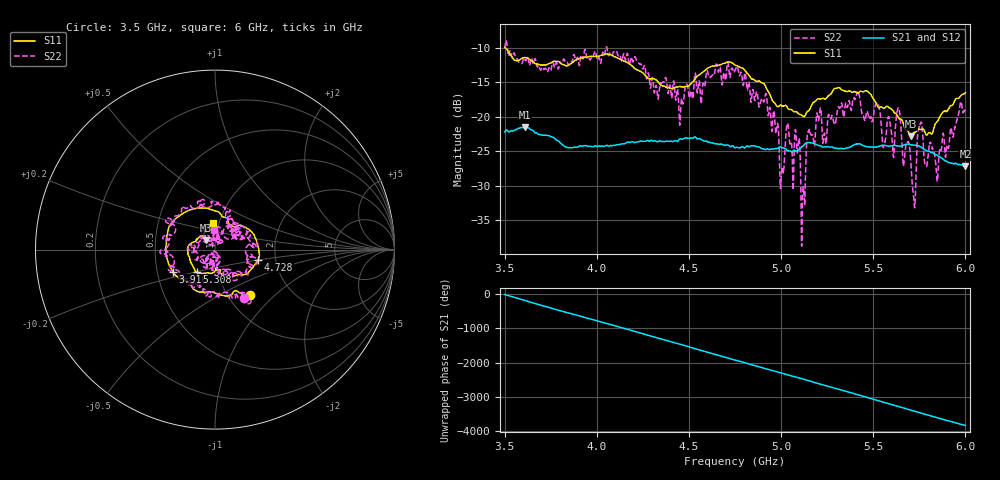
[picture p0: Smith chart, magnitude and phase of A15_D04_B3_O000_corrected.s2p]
! Created with skrf 1.9.0 (http://scikit-rf.org).
# Hz S RI R 50.0
!freq ReS11 ImS11 ReS21 ImS21 ReS12 ImS12 ReS22 ImS22
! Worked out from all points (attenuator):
!   1601 points, 3.5 GHz to 6 GHz, reference 50 ohm
!   highest |S21| = -21.55 dB at 3.609 GHz (marker M1); lowest = -27.2 dB at 6 GHz (marker M2)
!   lowest |S11| = -22.8 dB at 5.703 GHz (marker M3), VSWR 1.16, Z = 45.1 + j4.79 ohm
!   |S11| at or under -10 dB: 3.504 GHz to end of sweep
!   |S22| runs from -38.8 to -9.0 dB; largest |S21 - S12| = 0.00097
!   S11 on the Smith chart (normalised r, x): 3.5 GHz: 1.25, -0.71; 3.916 GHz: 0.60, -0.16; 4.728 GHz: 1.62, -0.19; 5.308 GHz: 0.79, -0.20; 6 GHz: 0.94, +0.29
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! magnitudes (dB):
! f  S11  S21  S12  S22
! 3.5 GHz  -9.9  -22.2  -22.2  -10.1
! 3.609 GHz  -11.4  -21.5  -21.5  -11.6
! 3.916 GHz  -11.5  -24.3  -24.2  -11.1
! 3.917 GHz  -11.5  -24.3  -24.3  -11.1
! 4.334 GHz  -15.0  -23.6  -23.5  -17.2
! 4.728 GHz  -12.1  -24.3  -24.2  -13.3
! 4.75 GHz  -12.5  -24.5  -24.4  -13.3
! 4.914 GHz  -15.5  -24.8  -24.7  -16.9
! 5.005 GHz  -18.4  -24.5  -24.5  -27.4
! 5.033 GHz  -18.6  -24.9  -24.8  -21.1
! 5.088 GHz  -19.4  -24.9  -24.9  -25.2
! 5.119 GHz  -19.9  -24.2  -24.2  -30.4
! 5.147 GHz  -19.2  -23.8  -23.7  -22.2
! 5.167 GHz  -18.2  -23.8  -23.8  -22.7
! 5.308 GHz  -15.8  -24.6  -24.5  -18.7
! 5.584 GHz  -18.7  -24.3  -24.2  -20.0
! 5.638 GHz  -20.2  -24.2  -24.2  -18.7
! 5.703 GHz  -22.8  -24.1  -24.0  -26.3
! 5.72 GHz  -22.3  -24.1  -24.1  -31.8
! 5.753 GHz  -21.9  -24.4  -24.3  -21.3
! 5.845 GHz  -20.8  -25.6  -25.5  -29.0
! 6 GHz  -16.5  -27.2  -27.1  -19.2
